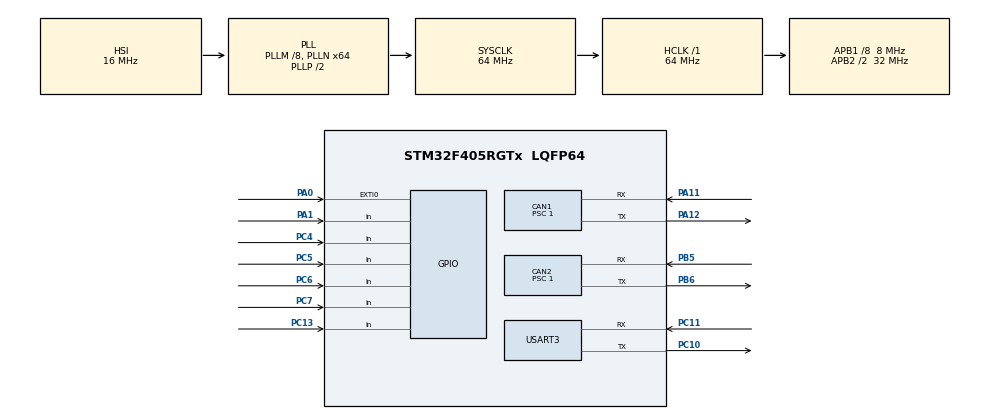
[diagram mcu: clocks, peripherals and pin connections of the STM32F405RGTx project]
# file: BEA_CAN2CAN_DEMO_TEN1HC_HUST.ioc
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CAN1.BS1=CAN_BS1_11TQ
CAN1.BS2=CAN_BS2_4TQ
CAN1.CalculateBaudRate=500000
CAN1.CalculateTimeBit=2000
CAN1.CalculateTimeQuantum=125.0
CAN1.Prescaler=1
CAN1.SJW=CAN_SJW_2TQ
CAN2.BS1=CAN_BS1_11TQ
CAN2.BS2=CAN_BS2_4TQ
CAN2.CalculateBaudRate=500000
CAN2.CalculateTimeBit=2000
CAN2.CalculateTimeQuantum=125.0
CAN2.Prescaler=1
CAN2.SJW=CAN_SJW_2TQ
Mcu.Family=STM32F4
Mcu.Name=STM32F405RGTx
Mcu.Package=LQFP64
NVIC.CAN1_RX0_IRQn=true\:2\:0\:true\:false\:true\:true\:true\:true
NVIC.CAN2_RX1_IRQn=true\:2\:0\:true\:false\:true\:true\:true\:true
NVIC.PriorityGroup=NVIC_PRIORITYGROUP_4
NVIC.USART3_IRQn=true\:1\:0\:true\:false\:true\:true\:true\:true
PA0-WKUP.GPIO_ModeDefaultEXTI=GPIO_MODE_IT_FALLING
PA0-WKUP.GPIO_PuPd=GPIO_PULLUP
PA0-WKUP.Signal=GPXTI0
PA1.GPIO_PuPd=GPIO_PULLUP
PA1.Signal=GPIO_Input
PA11.Mode=CAN_Activate
PA11.Signal=CAN1_RX
PA12.Mode=CAN_Activate
PA12.Signal=CAN1_TX
PB5.Mode=CAN_Activate
PB5.Signal=CAN2_RX
PB6.Mode=CAN_Activate
PB6.Signal=CAN2_TX
PC10.Mode=Asynchronous
PC10.Signal=USART3_TX
PC11.Mode=Asynchronous
PC11.Signal=USART3_RX
PC13-ANTI_TAMP.GPIO_PuPd=GPIO_PULLUP
PC13-ANTI_TAMP.Signal=GPIO_Input
PC4.GPIO_PuPd=GPIO_PULLUP
PC4.Signal=GPIO_Input
PC5.GPIO_PuPd=GPIO_PULLUP
PC5.Signal=GPIO_Input
PC6.GPIO_PuPd=GPIO_PULLUP
PC6.Signal=GPIO_Input
PC7.GPIO_PuPd=GPIO_PULLUP
PC7.Signal=GPIO_Input
PH0-OSC_IN.Mode=HSE-External-Oscillator
PH0-OSC_IN.Signal=RCC_OSC_IN
PH1-OSC_OUT.Mode=HSE-External-Oscillator
PH1-OSC_OUT.Signal=RCC_OSC_OUT
ProjectManager.HeapSize=0x200
ProjectManager.StackSize=0x400
ProjectManager.TargetToolchain=STM32CubeIDE
RCC.48MHZClocksFreq_Value=32000000
RCC.AHBFreq_Value=64000000
RCC.APB1CLKDivider=RCC_HCLK_DIV8
RCC.APB1Freq_Value=8000000
RCC.APB1TimFreq_Value=16000000
RCC.APB2CLKDivider=RCC_HCLK_DIV2
RCC.APB2Freq_Value=32000000
RCC.APB2TimFreq_Value=64000000
RCC.CortexFreq_Value=64000000
RCC.HCLKFreq_Value=64000000
RCC.HSE_VALUE=8000000
RCC.HSI_VALUE=16000000
RCC.LSE_VALUE=32768
RCC.PLLM=8
RCC.PLLN=64
RCC.SYSCLKFreq_VALUE=64000000
RCC.SYSCLKSource=RCC_SYSCLKSOURCE_PLLCLK
RCC.VCOOutputFreq_Value=128000000
USART3.VirtualMode=VM_ASYNC
board=custom

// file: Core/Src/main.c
/* USER CODE BEGIN Header */
/**
  ******************************************************************************
  * @file           : main.c
  * @brief          : Main program body
  ******************************************************************************
  * @attention
  *
  * Copyright (c) 2023 STMicroelectronics.
  * All rights reserved.
  *
  * This software is licensed under terms that can be found in the LICENSE file
  * in the root directory of this software component.
  * If no LICENSE file comes with this software, it is provided AS-IS.
  *
  ******************************************************************************
  */
/* USER CODE END Header */
#include "main.h"

CAN_HandleTypeDef hcan1;
CAN_HandleTypeDef hcan2;

UART_HandleTypeDef huart3;

/* USER CODE BEGIN PV */
uint8_t uart3_receive;

CAN_HandleTypeDef hcan1;
CAN_HandleTypeDef hcan2;
CAN_TxHeaderTypeDef CAN1_pHeader; //TX tester
CAN_RxHeaderTypeDef CAN1_pHeaderRx; //RX tester
CAN_FilterTypeDef CAN1_sFilterConfig;
CAN_TxHeaderTypeDef CAN2_pHeader; //TX ECU
CAN_RxHeaderTypeDef CAN2_pHeaderRx; //RX ECU
CAN_FilterTypeDef CAN2_sFilterConfig;
uint32_t CAN1_pTxMailbox; // tester mailbox
uint32_t CAN2_pTxMailbox; // ECU mailbox

uint16_t NumBytesReq = 0;
uint8_t  REQ_BUFFER  [4096];
uint8_t  REQ_1BYTE_DATA;
uint16_t tester_ID=0x712;
uint16_t ECU_ID=0x7A2;
uint16_t ECU_IDtmp;
uint8_t check=0;
uint8_t enb2E=0;

//TX tester
uint8_t CAN1_DATA_TX[8] = {0x00,0x00,0x00,0x00,0x00,0x00,0x00,0x00};
// RX tester
uint8_t CAN1_DATA_RX[8] = {0x00,0x00,0x00,0x00,0x00,0x00,0x00,0x00};
// TX ECU
uint8_t CAN2_DATA_TX[8] = {0x00,0x00,0x00,0x00,0x00,0x00,0x00,0x00};
// RX ECU
uint8_t CAN2_DATA_RX[8] = {0x00,0x00,0x00,0x00,0x00,0x00,0x00,0x00};

uint8_t CAN2_STORE_SEED[8];

uint16_t Num_Consecutive_Tester;
uint8_t  Flg_Consecutive = 0;

unsigned int TimeStamp;
int fifo;
// maximum characters send out via UART is 30
char bufsend[30]="XXX: D1 D2 D3 D4 D5 D6 D7 D8  ";

uint8_t MessageCounter = 0;
/* USER CODE END PV */

void SystemClock_Config(void);
static void MX_GPIO_Init(void);
static void MX_CAN1_Init(void);
static void MX_CAN2_Init(void);
static void MX_USART3_UART_Init(void);
/* USER CODE BEGIN PFP */
void MX_CAN1_Setup();
void MX_CAN2_Setup();
void USART3_SendString(uint8_t *ch);
void PrintCANLog(uint16_t CANID, uint8_t * CAN_Frame);
void delay(uint16_t delay);
/* USER CODE END PFP */

/* USER CODE BEGIN 0 */
void HAL_CAN_RxFifo1MsgPendingCallback(CAN_HandleTypeDef *hcan);
void HAL_CAN_RxFifo0MsgPendingCallback(CAN_HandleTypeDef *hcan);
void readFromTester(uint8_t* req_tester, uint16_t len, uint8_t* data_tx);
void checkAndHandle_tester();
void checkAndHandle_ECU();

// void checkAndHandle_service22(); //tester
// void checkAndHandle_service27(); //tester
// void checkAndhandle_service2E();  //tester
//
//Service22
 //Start service22
void ReadDataByIdentifierRequestFrame(uint8_t data[]);
void ReadDataByIdentifierResponseFrame(uint8_t data[]);
void HandleSID22(); //ECU xá»­ lÃ­ SID22
void HandleSID62(); //Tester xá»­ lÃ­ SID62

//Service27

void HandleSID27();
void HandleSID67();
uint8_t generate_seed();
uint8_t* cal_key (uint8_t Tx_data[], uint8_t data[]);
void securityAccessServiceSeedRequestFrame (uint8_t data[]);
void securityAccessServiceSeedResponseFrame (uint8_t data[]);
void securityAccessSendKeyRequestFrame(uint8_t Tx_data[], uint8_t data[]);
void securityAccessSendKeyResponseFrame(uint8_t data[]);
void SecurityAccessNegativeResponseMessage(uint8_t data[], uint8_t flag_NRC, uint8_t SID);
uint8_t checkKey (uint8_t data[], uint8_t CAN2_STORE_SEED[] );

//Service 2E

void HandleSID2E();
void HandleSID6E();
void WriteDataByIdentifierResponseFrame(uint8_t data[]);
void CAN1_Send();
//Ham lay byte

uint8_t get_PCI(uint8_t);
uint8_t get_size(uint8_t);
uint8_t get_SID(uint8_t data[]);
uint16_t get_DID(uint8_t data[]);
uint8_t get_sub_function(uint8_t data[]);
uint8_t get_NRC(uint8_t data[]);

//void HAL_GPIO_EXTI_Callback(uint16_t GPIO_Pin);
/* USER CODE END 0 */

int main(void)
{

  /* MCU Configuration--------------------------------------------------------*/

  /* Reset of all peripherals, Initializes the Flash interface and the Systick. */
  HAL_Init();

  /* Configure the system clock */
  SystemClock_Config();

  /* Initialize all configured peripherals */
  MX_GPIO_Init();
  MX_CAN1_Init();
  MX_CAN2_Init();
  MX_USART3_UART_Init();
  /* USER CODE BEGIN 2 */
  MX_CAN1_Setup();
  MX_CAN2_Setup();
  __HAL_UART_ENABLE_IT(&huart3, UART_IT_RXNE);
  /* USER CODE END 2 */

  /* Infinite loop */
  /* USER CODE BEGIN WHILE */
  // Example Function to print can message via uart
while (1)
{
    /* USER CODE END WHILE */

    /* USER CODE BEGIN 3 */
  if(NumBytesReq!=0)
    	{
    		delay(100);
    		readFromTester(REQ_BUFFER, NumBytesReq, CAN1_DATA_TX);
    		CAN1_Send();
    		delay(100);

    		switch(REQ_BUFFER[0])
    		{
    		case 0x27:
    //			SID_27_Practice();
    			//Service27();
    			checkAndHandle_ECU();
    			checkAndHandle_tester();
    			break;
    		case 0x22:
    			//Service22();
    			checkAndHandle_ECU();
    			checkAndHandle_tester();
    			break;
    		case 0x2E:
    //			SID_2E_Practice();
    			//Service2E();
    			checkAndHandle_ECU();
    			checkAndHandle_tester();
    			break;
    		default:
    			USART3_SendString((uint8_t*)"Service not support");
    			break;
    		}
    		PrintCANLog(CAN1_pHeaderRx.StdId,CAN1_DATA_RX);
    		NumBytesReq=0;
    	}
  if(!BtnU) /*IG OFF->ON stimulation*/
  {
    delay(20);
    USART3_SendString((uint8_t *)"IG OFF ");
    ECU_ID=ECU_IDtmp;
    MX_CAN2_Init();
    MX_CAN1_Init();
    MX_CAN2_Setup();
    MX_CAN1_Setup();
    while(!BtnU);
    USART3_SendString((uint8_t *)"-> IG ON \n");
    delay(20);
  }

}
}
  /* USER CODE END 3 */

void CAN1_Send()
{
	 PrintCANLog(CAN1_pHeader.StdId, CAN1_DATA_TX);
	  if(HAL_CAN_AddTxMessage(&hcan1, &CAN1_pHeader, CAN1_DATA_TX, &CAN1_pTxMailbox) != HAL_OK)
		{
		 Error_Handler();
		}

}

void SystemClock_Config(void)
{
  RCC_OscInitTypeDef RCC_OscInitStruct = {0};
  RCC_ClkInitTypeDef RCC_ClkInitStruct = {0};

  /** Configure the main internal regulator output voltage
  */
  __HAL_RCC_PWR_CLK_ENABLE();
  __HAL_PWR_VOLTAGESCALING_CONFIG(PWR_REGULATOR_VOLTAGE_SCALE1);

  /** Initializes the RCC Oscillators according to the specified parameters
  * in the RCC_OscInitTypeDef structure.
  */
  RCC_OscInitStruct.OscillatorType = RCC_OSCILLATORTYPE_HSI;
  RCC_OscInitStruct.HSIState = RCC_HSI_ON;
  RCC_OscInitStruct.HSICalibrationValue = RCC_HSICALIBRATION_DEFAULT;
  RCC_OscInitStruct.PLL.PLLState = RCC_PLL_ON;
  RCC_OscInitStruct.PLL.PLLSource = RCC_PLLSOURCE_HSI;
  RCC_OscInitStruct.PLL.PLLM = 8;
  RCC_OscInitStruct.PLL.PLLN = 64;
  RCC_OscInitStruct.PLL.PLLP = RCC_PLLP_DIV2;
  RCC_OscInitStruct.PLL.PLLQ = 4;
  if (HAL_RCC_OscConfig(&RCC_OscInitStruct) != HAL_OK)
  {
    Error_Handler();
  }

  /** Initializes the CPU, AHB and APB buses clocks
  */
  RCC_ClkInitStruct.ClockType = RCC_CLOCKTYPE_HCLK|RCC_CLOCKTYPE_SYSCLK
                              |RCC_CLOCKTYPE_PCLK1|RCC_CLOCKTYPE_PCLK2;
  RCC_ClkInitStruct.SYSCLKSource = RCC_SYSCLKSOURCE_PLLCLK;
  RCC_ClkInitStruct.AHBCLKDivider = RCC_SYSCLK_DIV1;
  RCC_ClkInitStruct.APB1CLKDivider = RCC_HCLK_DIV8;
  RCC_ClkInitStruct.APB2CLKDivider = RCC_HCLK_DIV2;

  if (HAL_RCC_ClockConfig(&RCC_ClkInitStruct, FLASH_LATENCY_2) != HAL_OK)
  {
    Error_Handler();
  }
}

static void MX_CAN1_Init(void)
{

  /* USER CODE BEGIN CAN1_Init 0 */
  CAN1_pHeader.DLC = 8;
  CAN1_pHeader.IDE = CAN_ID_STD;
  CAN1_pHeader.RTR = CAN_RTR_DATA;
  CAN1_pHeader.StdId = tester_ID;

  /* USER CODE END CAN1_Init 0 */

  hcan1.Instance = CAN1;
  hcan1.Init.Prescaler = 16;
  hcan1.Init.Mode = CAN_MODE_NORMAL;
  hcan1.Init.SyncJumpWidth = CAN_SJW_1TQ;
  hcan1.Init.TimeSeg1 = CAN_BS1_11TQ;
  hcan1.Init.TimeSeg2 = CAN_BS2_4TQ;
  hcan1.Init.TimeTriggeredMode = DISABLE;
  hcan1.Init.AutoBusOff = DISABLE;
  hcan1.Init.AutoWakeUp = DISABLE;
  hcan1.Init.AutoRetransmission = DISABLE;
  hcan1.Init.ReceiveFifoLocked = DISABLE;
  hcan1.Init.TransmitFifoPriority = DISABLE;
  if (HAL_CAN_Init(&hcan1) != HAL_OK)
  {
    Error_Handler();
  }
  /* USER CODE BEGIN CAN1_Init 2 */
  CAN1_sFilterConfig.FilterActivation = CAN_FILTER_ENABLE;
  CAN1_sFilterConfig.FilterFIFOAssignment = CAN_RX_FIFO0;
  CAN1_sFilterConfig.SlaveStartFilterBank = 13;
  CAN1_sFilterConfig.FilterBank = 8;
  CAN1_sFilterConfig.FilterMode = CAN_FILTERMODE_IDMASK;
  CAN1_sFilterConfig.FilterScale = CAN_FILTERSCALE_16BIT;
  CAN1_sFilterConfig.FilterIdHigh = ECU_ID << 5;
  CAN1_sFilterConfig.FilterIdLow = 0;
  CAN1_sFilterConfig.FilterMaskIdHigh = ECU_ID << 5;
  CAN1_sFilterConfig.FilterMaskIdLow = 0;
  /* USER CODE END CAN1_Init 2 */

}

static void MX_CAN2_Init(void)
{

  /* USER CODE BEGIN CAN2_Init 0 */
  CAN2_pHeader.DLC = 8;
  CAN2_pHeader.IDE = CAN_ID_STD;
  CAN2_pHeader.RTR = CAN_RTR_DATA;
  CAN2_pHeader.StdId = ECU_ID;

  /* USER CODE END CAN2_Init 0 */

  hcan2.Instance = CAN2;
  hcan2.Init.Prescaler = 16;
  hcan2.Init.Mode = CAN_MODE_NORMAL;
  hcan2.Init.SyncJumpWidth = CAN_SJW_1TQ;
  hcan2.Init.TimeSeg1 = CAN_BS1_11TQ;
  hcan2.Init.TimeSeg2 = CAN_BS2_4TQ;
  hcan2.Init.TimeTriggeredMode = DISABLE;
  hcan2.Init.AutoBusOff = DISABLE;
  hcan2.Init.AutoWakeUp = DISABLE;
  hcan2.Init.AutoRetransmission = DISABLE;
  hcan2.Init.ReceiveFifoLocked = DISABLE;
  hcan2.Init.TransmitFifoPriority = DISABLE;
  if (HAL_CAN_Init(&hcan2) != HAL_OK)
  {
    Error_Handler();
  }
  /* USER CODE BEGIN CAN2_Init 2 */
  CAN2_sFilterConfig.FilterActivation = CAN_FILTER_ENABLE; // Báº­t táº¯t filter
  CAN2_sFilterConfig.FilterFIFOAssignment = CAN_RX_FIFO1;
  CAN2_sFilterConfig.SlaveStartFilterBank = 13;
  CAN2_sFilterConfig.FilterBank = 19; // Filter Ä‘Æ°á»£c sá»­ dá»¥ng trong tiáº¿n trÃ¬nh
  CAN2_sFilterConfig.FilterMode = CAN_FILTERMODE_IDMASK;
  CAN2_sFilterConfig.FilterScale = CAN_FILTERSCALE_16BIT;
  CAN2_sFilterConfig.FilterIdHigh = tester_ID << 5;
  CAN2_sFilterConfig.FilterIdLow = 0;
  CAN2_sFilterConfig.FilterMaskIdHigh = tester_ID << 5;
  CAN2_sFilterConfig.FilterMaskIdLow = 0;
  /* USER CODE END CAN2_Init 2 */

}

static void MX_USART3_UART_Init(void)
{

  huart3.Instance = USART3;
  huart3.Init.BaudRate = 115200;
  huart3.Init.WordLength = UART_WORDLENGTH_8B;
  huart3.Init.StopBits = UART_STOPBITS_1;
  huart3.Init.Parity = UART_PARITY_NONE;
  huart3.Init.Mode = UART_MODE_TX_RX;
  huart3.Init.HwFlowCtl = UART_HWCONTROL_NONE;
  huart3.Init.OverSampling = UART_OVERSAMPLING_16;
  if (HAL_UART_Init(&huart3) != HAL_OK)
  {
    Error_Handler();
  }

}

static void MX_GPIO_Init(void)
{
  GPIO_InitTypeDef GPIO_InitStruct = {0};

  /* GPIO Ports Clock Enable */
  __HAL_RCC_GPIOC_CLK_ENABLE();
  __HAL_RCC_GPIOH_CLK_ENABLE();
  __HAL_RCC_GPIOA_CLK_ENABLE();
  __HAL_RCC_GPIOB_CLK_ENABLE();

  /*Configure GPIO pins : PC13 PC4 PC5 PC6
                           PC7 */
  GPIO_InitStruct.Pin = GPIO_PIN_13|GPIO_PIN_4|GPIO_PIN_5|GPIO_PIN_6
                          |GPIO_PIN_7;
  GPIO_InitStruct.Mode = GPIO_MODE_INPUT;
  GPIO_InitStruct.Pull = GPIO_PULLUP;
  HAL_GPIO_Init(GPIOC, &GPIO_InitStruct);

  /*Configure GPIO pin : PA0 */
  GPIO_InitStruct.Pin = GPIO_PIN_0;
  GPIO_InitStruct.Mode = GPIO_MODE_IT_FALLING;
  GPIO_InitStruct.Pull = GPIO_PULLUP;
  HAL_GPIO_Init(GPIOA, &GPIO_InitStruct);

  /*Configure GPIO pin : PA1 */
  GPIO_InitStruct.Pin = GPIO_PIN_1;
  GPIO_InitStruct.Mode = GPIO_MODE_INPUT;
  GPIO_InitStruct.Pull = GPIO_NOPULL;
  HAL_GPIO_Init(GPIOA, &GPIO_InitStruct);

  /* EXTI interrupt init*/
  HAL_NVIC_SetPriority(EXTI0_IRQn, 1, 0);
  HAL_NVIC_EnableIRQ(EXTI0_IRQn);

}

/* USER CODE BEGIN 4 */
void readFromTester(uint8_t* req_tester, uint16_t len, uint8_t* data_tx) {
  data_tx[0] = len;
  uint8_t loopIndx;
  for (loopIndx = 0; loopIndx < len; loopIndx++) {
    data_tx[loopIndx+1] = req_tester[loopIndx];
  }
  while(loopIndx < 7) {
    loopIndx++;
    data_tx[loopIndx] = 0x55;
  }
}

void MX_CAN1_Setup()
{
	HAL_CAN_ConfigFilter(&hcan1, &CAN1_sFilterConfig);
	HAL_CAN_Start(&hcan1);
	HAL_CAN_ActivateNotification(&hcan1, CAN_IT_RX_FIFO0_MSG_PENDING);
}
void MX_CAN2_Setup()
{
	HAL_CAN_ConfigFilter(&hcan2, &CAN2_sFilterConfig);
	HAL_CAN_Start(&hcan2);
	HAL_CAN_ActivateNotification(&hcan2, CAN_IT_RX_FIFO1_MSG_PENDING);
}

void USART3_SendString(uint8_t *ch)
{
   while(*ch!=0)
   {
      HAL_UART_Transmit(&huart3, ch, 1,HAL_MAX_DELAY);
      ch++;
   }
}
void PrintCANLog(uint16_t CANID, uint8_t * CAN_Frame)
{
	uint16_t loopIndx = 0;
	char bufID[3] = "   ";
	char bufDat[2] = "  ";
	char bufTime [8]="        ";

	sprintf(bufTime,"%d",TimeStamp);
	USART3_SendString((uint8_t*)bufTime);
	USART3_SendString((uint8_t*)" ");

	sprintf(bufID,"%03X",CANID);
	for(loopIndx = 0; loopIndx < 3; loopIndx ++)
	{
		bufsend[loopIndx]  = bufID[loopIndx];
	}
	bufsend[3] = ':';
	bufsend[4] = ' ';

	for(loopIndx = 0; loopIndx < 8; loopIndx ++ )
	{
		sprintf(bufDat,"%02X",CAN_Frame[loopIndx]);
		bufsend[loopIndx*3 + 5] = bufDat[0];
		bufsend[loopIndx*3 + 6] = bufDat[1];
		bufsend[loopIndx*3 + 7] = ' ';
	}
	bufsend[29] = '\n';
	USART3_SendString((unsigned char*)bufsend);
}
void HAL_UART_RxCpltCallback(UART_HandleTypeDef *huart)
{
	REQ_BUFFER[NumBytesReq] = REQ_1BYTE_DATA;
	NumBytesReq++;

	//REQ_BUFFER[7] = NumBytesReq;
}
void delay(uint16_t delay)
{
	HAL_Delay(delay);
}

//    if (GPIO_Pin == USER_Pin)
//    {
//        ECU_ID1=ECU_IDtmp1;
//        ECU_ID2=ECU_IDtmp2;
//
//    }

void HAL_CAN_RxFifo0MsgPendingCallback(CAN_HandleTypeDef *hcan){

	HAL_CAN_GetRxMessage(&hcan1, CAN_RX_FIFO0, &CAN1_pHeaderRx, CAN1_DATA_RX);
	char buffer3[9] = "CAN1RX\n";
	USART3_SendString((unsigned char *)buffer3);
	fifo=0;
	PrintCANLog(tester_ID, CAN1_DATA_RX);
}
void HAL_CAN_RxFifo1MsgPendingCallback(CAN_HandleTypeDef *hcan){

	HAL_CAN_GetRxMessage(&hcan2, CAN_RX_FIFO1, &CAN2_pHeaderRx, CAN2_DATA_RX);
	char buffer4[9] = "CAN2RX\n";
	USART3_SendString((unsigned char *)buffer4);
	fifo=1;
	PrintCANLog(ECU_ID, CAN2_DATA_RX);
}

// Ham check

void checkAndHandle_ECU() {
	if (fifo == 1) {
		fifo = 2;
		uint8_t PCI = get_PCI(CAN2_DATA_RX[0]);
		uint8_t LEN = get_size(CAN2_DATA_RX[0]);

		if (PCI == 0x00) {
			uint8_t SID = get_SID(CAN2_DATA_RX);
			switch (SID) {
			case 0x22:
				if (LEN == 0x03) {

					HandleSID22();

				} else {
					SecurityAccessNegativeResponseMessage(CAN2_DATA_TX, 0x13,SID);
					HAL_CAN_AddTxMessage(&hcan2, &CAN2_pHeader, CAN2_DATA_TX,&CAN2_pTxMailbox);
				}
				break;
			case 0x27:
				if (LEN == 0x06 || LEN == 0x02||LEN ==0x07)
					HandleSID27();
			 else {
								SecurityAccessNegativeResponseMessage(CAN2_DATA_TX, 0x13, SID);
								HAL_CAN_AddTxMessage(&hcan2, &CAN2_pHeader, CAN2_DATA_TX,&CAN2_pTxMailbox);
			 	 }
				break;
			case 0x2E:
				if (enb2E==1)
					HandleSID2E();
				else {
					SecurityAccessNegativeResponseMessage(CAN2_DATA_TX, 0x33,SID);
					HAL_CAN_AddTxMessage(&hcan2, &CAN2_pHeader, CAN2_DATA_TX,&CAN2_pTxMailbox);

				}
				break;
			default:
				break;
			}
		}
	}

}
void checkAndHandle_tester() {
	if (fifo == 0) {
		fifo = 2;
		uint8_t PCI = get_PCI(CAN1_DATA_RX[0]);
		if (PCI == 0x00) {
			uint8_t SID = get_SID(CAN1_DATA_RX);
			switch (SID) {
			case 0x62:
				HandleSID62(CAN1_DATA_RX);
				PrintCANLog(0xFF,CAN1_DATA_RX);
				break;
			case 0x67:
				HandleSID67();
				break;
			case 0x6E:
				HandleSID6E();
				break;

			default:
				break;
			}
		}
	}
}

//Ham xu ly
void HandleSID2E() {

	uint8_t LEN = get_size(CAN2_DATA_RX[0]);
	if (LEN == 0X05) {
		uint16_t DID = get_DID(CAN2_DATA_RX);
		if (DID == 0x0123) {
			WriteDataByIdentifierResponseFrame(CAN2_DATA_TX);

			ECU_IDtmp=(CAN2_DATA_RX[4]<<8)|CAN2_DATA_RX[5];

		} else {
			SecurityAccessNegativeResponseMessage(CAN2_DATA_TX, 0x31, 0x2E);
		}
	}else{
			SecurityAccessNegativeResponseMessage(CAN2_DATA_TX,0x13 ,0x2E);
		}
		HAL_CAN_AddTxMessage(&hcan2, &CAN2_pHeader, CAN2_DATA_TX,
				&CAN2_pTxMailbox);
		delay(100);
	}

//Ham read
void ReadDataByIdentifierRequestFrame(uint8_t data[]){
	data[0] = 0x03;	// PCi, size
	data[1] = 0x22;	// SID
	data[2] = 0x01;	// DID
	data[3] = 0x23;	// DID
}
void ReadDataByIdentifierResponseFrame(uint8_t data[]){
	data[0] = 0x03;	// PCI
	data[1] = 0x62;	// PSID
	data[2] = 0x01;	// DID
	data[3] = 0x23; // DID
}
void WriteDataByIdentifierRequestFrame(uint8_t data[]){
	data[0] = 0x05;	// PCi, size
	data[1] = 0x2E;	// SID
	data[2] = 0x01;	// DID
	data[3] = 0x23;	// DID
  data[4] = 0xAA;
  data[5] = 0xBB;
}
void WriteDataByIdentifierResponseFrame(uint8_t data[]){
	data[0] = 0x03;	// PCi, size
	data[1] = 0x6E;	// PSID
	data[2] = 0x01;	// DID
	data[3] = 0x23;	// DID
}
void securityAccessServiceSeedRequestFrame(uint8_t data[]){
	data[0] = 0x02;	// PCI la 0, size la 2
	data[1] = 0x27;	// service 27
	data[2] = 0x01;	// request seed
}
void securityAccessServiceSeedResponseFrame(uint8_t data[]){
	data[0] = 0x06;	// PCI la 0, size la 4
	data[1] = 0x67;	// response $27 nen la $67
	data[2] = 0x01;	// request seed
	data[3] = generate_seed();	// Security Seed
	CAN2_STORE_SEED[3] = data[3];
	data[4] = generate_seed();	// Security Seed
	CAN2_STORE_SEED[4] = data[4];
	data[5] = generate_seed();	// Security Seed
	CAN2_STORE_SEED[5] = data[5];
	data[6] = generate_seed();	// Security Seed
	CAN2_STORE_SEED[6] = data[6];
  data[7] = 0x55;
}
void securityAccessSendKeyRequestFrame(uint8_t Tx_data[], uint8_t data[]){
	Tx_data[0] = 0x07;				// PCI la 0, size la 4
	Tx_data[1] = 0x27;				// response $27 nen la $67
	Tx_data[2] = 0x02;				// response seed = request seed + 1
  cal_key(Tx_data, data);
  Tx_data[7] = 0x55;
}
void securityAccessSendKeyResponseFrame(uint8_t data[]){
	data[0] = 0x02;	// PCI la 0, size la 2
	data[1] = 0x67;	// response $27 nen la $67
	data[2] = 0x02;	// response seed = request seed + 1
  data[3] = 0x55;
  data[4] = 0x55;
  data[5] = 0x55;
  data[6] = 0x55;
  data[7] = 0x55;

}
void SecurityAccessNegativeResponseMessage(uint8_t data[], uint8_t flag_NRC,uint8_t SID){
	data[0] = 0x03;	// PCI la 0, size la 3
	data[1] = 0x7F;	// NRC code
	data [2] = SID;
	data [3]=flag_NRC;
}
void HandleSID22(){
	uint16_t DID = get_DID(CAN2_DATA_RX);
	if (DID == 0x0123){
		ReadDataByIdentifierResponseFrame(CAN2_DATA_TX);

	}
	else{
		SecurityAccessNegativeResponseMessage(CAN2_DATA_TX, 0x31,0x22);
	}
	HAL_CAN_AddTxMessage(&hcan2, &CAN2_pHeader, CAN2_DATA_TX, &CAN2_pTxMailbox);
	delay(100);
}
void HandleSID27() {
	uint8_t SBF = get_sub_function(CAN2_DATA_RX);
		if (SBF == 0x01) {
			securityAccessServiceSeedResponseFrame(CAN2_DATA_TX);
			check = 1;
		} else if (SBF == 0x02&check==1) {
			if (checkKey(CAN2_DATA_RX, CAN2_STORE_SEED) == 1) {
				securityAccessSendKeyResponseFrame(CAN2_DATA_TX);

			} else {
				SecurityAccessNegativeResponseMessage(CAN2_DATA_TX, 0x35,0x27);// invalid key
			}
		}
	HAL_CAN_AddTxMessage(&hcan2, &CAN2_pHeader, CAN2_DATA_TX, &CAN2_pTxMailbox);
	delay(100);
}
//
void HandleSID6E(){
	uint16_t DID = get_DID(CAN2_DATA_RX);
	if (DID == 0x0123){
		WriteDataByIdentifierResponseFrame(CAN2_DATA_TX);
	}
	else{
		SecurityAccessNegativeResponseMessage(CAN2_DATA_TX, 0x31,0x6E);
	}
	HAL_CAN_AddTxMessage(&hcan2, &CAN2_pHeader, CAN2_DATA_TX, &CAN2_pTxMailbox);
	delay(100);
}
void HandleSID67(){
	uint8_t SBF = get_sub_function(CAN1_DATA_RX);
	if (SBF == 0x01){
		securityAccessSendKeyRequestFrame(CAN1_DATA_TX, CAN1_DATA_RX);
		HAL_CAN_AddTxMessage(&hcan1, &CAN1_pHeader, CAN1_DATA_TX, &CAN1_pTxMailbox);
		delay(100);
	}else{
		enb2E=1;
	}
}
void HandleSID62(uint8_t data[]) {
	data[0] = 0x05;
	data[1] = 0x62;
	data[2] = 0x01;
	data[3] = 0x23;
	data[4] = (ECU_ID>>8)&0XFF;
	data[5] = ECU_ID&0XFF;
	data[6] = 0x55;
	data[7] = 0x55;
}

// Ham get
uint8_t get_sub_function (uint8_t data[]) {
  return data[2];
}
uint8_t generate_seed(){
	return (uint8_t)(HAL_GetTick());
}
uint8_t checkKey (uint8_t data[], uint8_t CAN2_STORE_SEED[] ) {
  uint8_t compareData[8];
  cal_key(compareData, CAN2_STORE_SEED);
  for (int loopIndx = 3; loopIndx < 8; loopIndx++) {
    if (data[loopIndx] != CAN2_STORE_SEED[loopIndx]) return 0;
  }
  return 1;
}
uint8_t get_NRC(uint8_t data[]) {
  return data[2];
}
uint8_t* cal_key(uint8_t Tx_data[], uint8_t data[]) {
  Tx_data[3] = data[3] ^ data[4];
  Tx_data[4] = data[4] + data[5];
  Tx_data[5] = data[5] ^ data[6];
  Tx_data[6] = data[6] + data[3];
  return Tx_data;
}
uint16_t get_DID(uint8_t data[]) {
  uint16_t temp = data[2];
  temp <<= 8;
  temp += data[3];
  return temp;
}
uint8_t get_SID(uint8_t data[]) {
  return data[1];
}
uint8_t get_size(uint8_t data) {
  return data & 0x0F;
}
uint8_t get_PCI(uint8_t data) {
  return data >> 4;
}

//void HAL_GPIO_EXTI_Callback(uint16_t GPIO_Pin){
//}
/* USER CODE END 4 */

void Error_Handler(void)
{
  __disable_irq();
  while (1)
  {
  }
}
